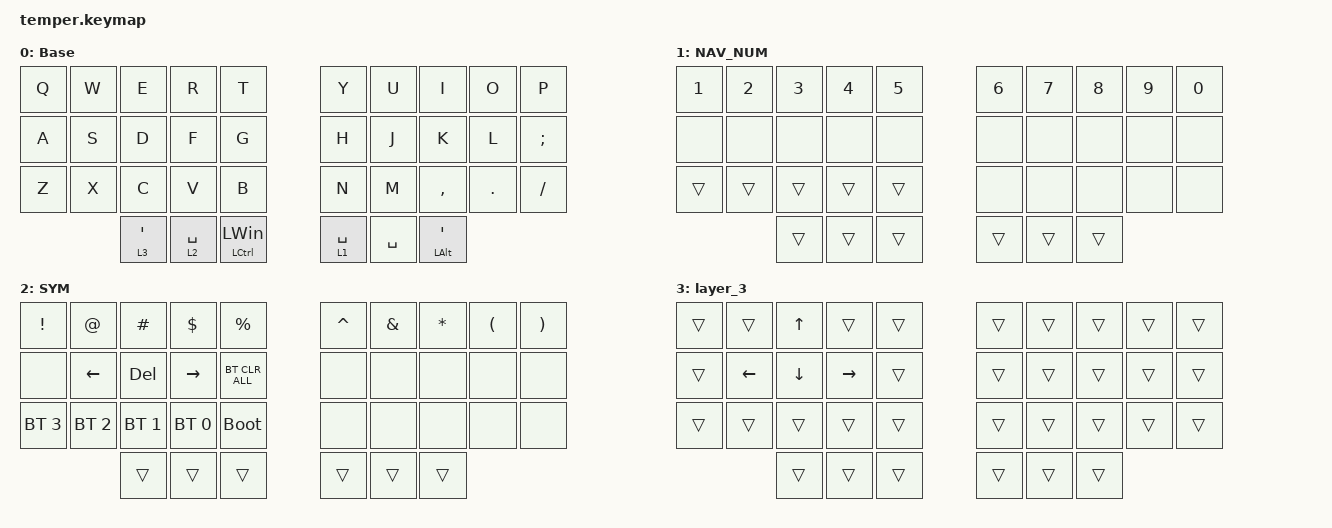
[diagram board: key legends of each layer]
/*
 * Copyright (c) 2020 duckyb
 *
 * SPDX-License-Identifier: MIT
 */

#include <dt-bindings/zmk/mouse.h>
#include <behaviors.dtsi>
#include <dt-bindings/zmk/bt.h>
#include <dt-bindings/zmk/keys.h>

#define Base 0
#define NAV_NUM 1
#define SYM 2
#define FUN 3

&sk { quick-release; };

&lt {
    flavor = "hold-preferred";
    quick-tap-ms = <180>;
};

/ {
    behaviors {
        hm: hm {
            compatible = "zmk,behavior-hold-tap";
            label = "HM";
            bindings = <&kp>, <&kp>;

            #binding-cells = <2>;
            quick-tap-ms = <170>;
            tapping-term-ms = <190>;
            global-quick-tap;
            flavor = "tap-preferred";
        };

        hml: hml {
            compatible = "zmk,behavior-hold-tap";
            label = "HML";
            bindings = <&kp>, <&kp>;

            #binding-cells = <2>;
            tapping-term-ms = <280>;
            quick-tap-ms = <175>;
            require-prior-idle-ms = <150>;
            flavor = "balanced";
            hold-trigger-on-release;
            hold-trigger-key-positions = <0 1 2 3 4 20 21 22 23 24 14 30 31 32 33 34 35 25 15 5 6 16 26 27 17 7 8 18 28 29 19 9>;
        };

        hmr: hmr {
            compatible = "zmk,behavior-hold-tap";
            label = "HMR";
            bindings = <&kp>, <&kp>;

            #binding-cells = <2>;
            tapping-term-ms = <280>;
            quick-tap-ms = <175>;
            require-prior-idle-ms = <150>;
            flavor = "balanced";
            hold-trigger-on-release;
            hold-trigger-key-positions = <0 10 20 21 1 11 12 2 3 4 24 14 13 23 22 30 31 32 33 34 35 25 26 28 27 29 9 8 7 6 5 15>;
        };

        mo_tog: mo_tog {
            compatible = "zmk,behavior-hold-tap";
            label = "MO_TOG";
            bindings = <&mo>, <&tog>;

            #binding-cells = <2>;
            tapping-term-ms = <200>;
            quick-tap-ms = <180>;
        };
    };

    combos {
        compatible = "zmk,combos";

        left_bkt {
            bindings = <&kp LBKT>;
            key-positions = <3 4>;
            timeout-ms = <30>;
        };

        right_bkt {
            bindings = <&kp RBKT>;
            key-positions = <6 5>;
            timeout-ms = <30>;
        };

        left_par {
            bindings = <&kp LEFT_PARENTHESIS>;
            key-positions = <13 14>;
            timeout-ms = <30>;
        };

        right_par {
            bindings = <&kp RIGHT_PARENTHESIS>;
            key-positions = <16 15>;
            timeout-ms = <30>;
        };

        left_brace {
            bindings = <&kp LEFT_BRACE>;
            key-positions = <23 24>;
            timeout-ms = <35>;
        };

        right_brace {
            bindings = <&kp RIGHT_BRACE>;
            key-positions = <26 25>;
            timeout-ms = <35>;
        };

        bac {
            bindings = <&kp BACKSLASH>;
            key-positions = <3 14>;
        };

        pipe {
            bindings = <&kp PIPE>;
            key-positions = <15 5>;
            timeout-ms = <30>;
        };

        esc {
            bindings = <&kp ESC>;
            key-positions = <11 12>;
            timeout-ms = <30>;
        };

        enter {
            bindings = <&kp ENTER>;
            key-positions = <16 17>;
            timeout-ms = <30>;
        };

        tab {
            bindings = <&kp TAB>;
            key-positions = <12 13>;
            timeout-ms = <30>;
        };

        back {
            bindings = <&kp BACKSPACE>;
            key-positions = <17 18>;
            timeout-ms = <30>;
        };

        del {
            bindings = <&kp DELETE>;
            key-positions = <27 28>;
            timeout-ms = <30>;
        };

        copy {
            bindings = <&kp LG(C)>;
            key-positions = <21 22>;
            timeout-ms = <30>;
        };

        paste {
            bindings = <&kp LG(V)>;
            key-positions = <22 23>;
            timeout-ms = <30>;
        };

        slash {
            bindings = <&kp SLASH>;
            key-positions = <15 6>;
        };
    };

    keymap {
        compatible = "zmk,keymap";

        base {
            label = "Base";
            display-name = "Base";
            bindings = <
  &kp Q  &kp W  &kp E      &kp R        &kp T                 &kp Y        &kp U      &kp I             &kp O    &kp P
  &kp A  &kp S  &kp D      &kp F        &kp G                 &kp H        &kp J      &kp K             &kp L    &kp SEMI
  &kp Z  &kp X  &kp C      &kp V        &kp B                 &kp N        &kp M      &kp COMMA         &kp DOT  &kp FSLH
                &lt 3 SQT  &lt 2 SPACE  &mt LCTRL LEFT_WIN    &lt 1 SPACE  &kp SPACE  &mt LEFT_ALT SQT
            >;
        };

        nav_num {
            display-name = "NAV_NUM";
            label = "NAV_NUM";
            bindings = <
  &kp N1  &kp N2  &kp N3  &kp N4  &kp N5    &kp N6  &kp N7  &kp N8  &kp N9  &kp N0
  &none   &none   &none   &none   &none     &none   &none   &none   &none   &none
  &trans  &trans  &trans  &trans  &trans    &none   &none   &none   &none   &none
                  &trans  &trans  &trans    &trans  &trans  &trans
            >;
        };

        sym {
            label = "SYM";
            display-name = "SYM";
            bindings = <
  &kp EXCLAMATION  &kp AT        &kp HASH      &kp DOLLAR    &kp PERCENT       &kp CARET  &kp AMPERSAND  &kp ASTERISK  &kp LEFT_PARENTHESIS  &kp RIGHT_PARENTHESIS
  &none            &kp LEFT      &kp DELETE    &kp RIGHT     &bt BT_CLR_ALL    &none      &none          &none         &none                 &none
  &bt BT_SEL 3     &bt BT_SEL 2  &bt BT_SEL 1  &bt BT_SEL 0  &bootloader       &none      &none          &none         &none                 &none
                                 &trans        &trans        &trans            &trans     &trans         &trans
            >;
        };

        layer_3 {
            bindings = <
  &trans  &trans    &kp UP_ARROW    &trans     &trans    &trans  &trans  &trans  &trans  &trans
  &trans  &kp LEFT  &kp DOWN_ARROW  &kp RIGHT  &trans    &trans  &trans  &trans  &trans  &trans
  &trans  &trans    &trans          &trans     &trans    &trans  &trans  &trans  &trans  &trans
                    &trans          &trans     &trans    &trans  &trans  &trans
            >;
        };
    };
};
